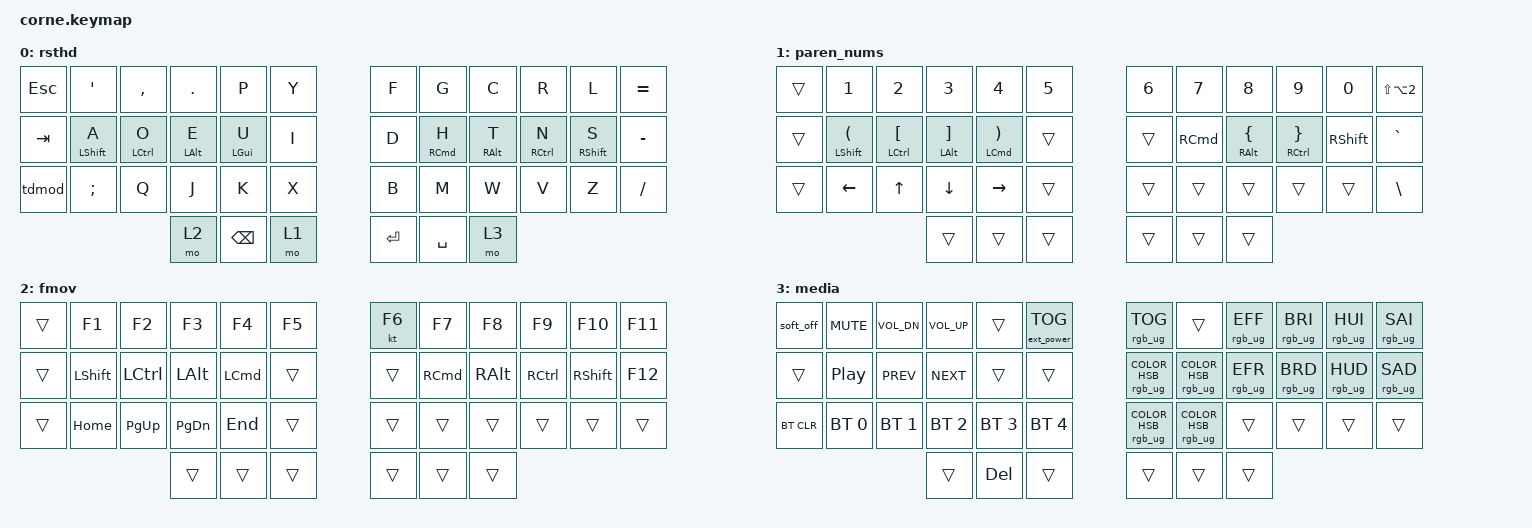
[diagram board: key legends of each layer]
/*
 * Copyright (c) 2020 The ZMK Contributors
 *
 * SPDX-License-Identifier: MIT
 */

#include <behaviors.dtsi>
#include <dt-bindings/zmk/bt.h>
#include <dt-bindings/zmk/ext_power.h>
#include <dt-bindings/zmk/keys.h>
#include <dt-bindings/zmk/rgb.h>
#include <zephyr/dt-bindings/gpio/gpio.h>

#define DVK 0
#define ONE   1
#define TWO   2
#define THREE 3

&led_strip { chain-length = <27>; };

/* nice_view CS re-bodged from D1 (default) to RX1: D1/P0.06 is the
 * underglow data pin on the Corne and must stay with the WS2812 strip. */
&nice_view_spi {
    cs-gpios = <&pro_micro 0 GPIO_ACTIVE_HIGH>;
};

/ {
    behaviors {
        bhm: balanced_homerow_mods {
            compatible = "zmk,behavior-hold-tap";
            #binding-cells = <2>;
            tapping-term-ms = <180>;    // <---[[moderate duration]]
            quick-tap-ms = <0>;
            flavor = "balanced";
            bindings = <&kp>, <&kp>;
        };

        tdmod: tdmod {
            compatible = "zmk,behavior-tap-dance";
            label = "TDMOD";
            #binding-cells = <0>;
            bindings = <&kp LC(LALT)>, <&kp LC(LA(LSHFT))>;
        };
    };

    macros {
        vim_save_all: vim_save_all {
            compatible = "zmk,behavior-macro";
            #binding-cells = <0>;
            bindings = <&kp ESCAPE &kp COLON &kp W &kp A &kp EXCL &kp ENTER>;
            label = "VIM_SAVE_ALL";
        };

        vim_show_tree: vim_show_tree {
            compatible = "zmk,behavior-macro";
            #binding-cells = <0>;
            bindings = <&kp ESCAPE &kp SPACE &kp E>;
            label = "VIM_SHOW_TREE";
        };

        vim_cfdo_prefix: vim_cfdo_prefix {
            compatible = "zmk,behavior-macro";
            #binding-cells = <0>;
            bindings = <&kp LC(Q) &kp COLON &kp C &kp F &kp D &kp O &kp SPACE &kp PRCNT &kp S &kp FSLH>;
            label = "VIM_CFDO_PREFIX";
        };

        vim_vert_split: vim_vert_split {
            compatible = "zmk,behavior-macro";
            #binding-cells = <0>;
            bindings = <&kp LC(W) &kp V>;
            label = "VIM_VERT_SPLIT";
            tap-ms = <0>;
        };

        vim_hor_split: vim_hor_split {
            compatible = "zmk,behavior-macro";
            #binding-cells = <0>;
            bindings = <&kp LC(W) &kp S>;
            label = "VIM_HOR_SPLIT";
        };

        vim_close_split: vim_close_split {
            compatible = "zmk,behavior-macro";
            #binding-cells = <0>;
            bindings = <&kp LC(W) &kp C>;
            label = "VIM_CLOSE_SPLIT";
        };

        vim_split_nav_up: vim_split_up {
            compatible = "zmk,behavior-macro";
            #binding-cells = <0>;
            bindings = <&kp LC(W) &kp K>;
            label = "VIM_SPLIT_UP";
        };

        vim_split_nav_down: vim_split_down {
            compatible = "zmk,behavior-macro";
            #binding-cells = <0>;
            bindings = <&kp LC(W) &kp J>;
            label = "VIM_SPLIT_DOWN";
        };

        vim_split_nav_left: vim_slit_nav_left {
            compatible = "zmk,behavior-macro";
            #binding-cells = <0>;
            bindings = <&kp LC(W) &kp H>;
            label = "VIM_SLIT_NAV_LEFT";
        };

        vim_split_nav_right: vim_split_nav_right {
            compatible = "zmk,behavior-macro";
            #binding-cells = <0>;
            bindings = <&kp LC(W) &kp L>;
            label = "VIM_SPLIT_NAV_RIGHT";
        };
    };

    keymap {
        compatible = "zmk,keymap";

        rsthd {
            // --------------------------------------------------------------------------------------------------------------
            // |  ESC |  '      |  ,<     |  .>     |  P      |  Y  | ## |  F  |  G       |  C      |  R      |  L      | =+  |
            // |  TAB |  LS(A)  |  LC(O)  |  LA(E)  |  LG(U)  |  I  | ## |  D  |  RG(H)   |  RA(T)  |  RC(N)  |  RS(S)  | -_  |
            // |  CA  |  ;      |  Q      |  J      |  K      |  X  | ## |  B  |  M       |  W      |  V      |  Z      | /?  |
            //                            | MO(2)   | MO(1)   | BSP | ## | ENT |  SPC     | MO(3)   |

            bindings = <
&kp ESC  &kp SINGLE_QUOTE  &kp COMMA     &kp PERIOD   &kp P          &kp Y    &kp F      &kp G        &kp C        &kp R         &kp L         &kp EQUAL
&kp TAB  &bhm LSHIFT A     &bhm LCTRL O  &bhm LALT E  &bhm LGUI U    &kp I    &kp D      &bhm RCMD H  &bhm RALT T  &bhm RCTRL N  &bhm RSHFT S  &kp MINUS
&tdmod   &kp SEMICOLON     &kp Q         &kp J        &kp K          &kp X    &kp B      &kp M        &kp W        &kp V         &kp Z         &kp SLASH
                                         &mo 2        &kp BACKSPACE  &mo 1    &kp ENTER  &kp SPACE    &mo 3
            >;
        };

        paren_nums {
            //--------------------------------------------------------------------------------------------------------------
            // |      | [          |  {         | }          | ]          |     | ## |     7 |    8 |    9 |     & | * | + |
            // |      | LSHIFT     |  LC (      | LA )       |  LGUI      |     | ## | RG  4 | RA 5 | RC 6 |  RS $ | % | ^ |
            // |      | left       |   up       |  down      | right      |     | ## |     1 |    2 |    3 |     ! | @ | # |
            // |  MEH | home       |   pgup     |  pgdn      |  end       |     | ## |     0 |    , |    . |     = |   | - | 
            //                                  |            |            |     | ## |       |      |      | 

            bindings = <
&trans  &kp NUMBER_1                 &kp NUMBER_2             &kp NUMBER_3             &kp NUMBER_4                 &kp N5    &kp NUMBER_6  &kp N7    &kp N8                &kp N9                  &kp N0     &kp LS(LA(NUMBER_2))
&trans  &bhm LSHFT LEFT_PARENTHESIS  &bhm LCTRL LEFT_BRACKET  &bhm LALT RIGHT_BRACKET  &bhm LCMD RIGHT_PARENTHESIS  &trans    &trans        &kp RCMD  &bhm RALT LEFT_BRACE  &bhm RCTRL RIGHT_BRACE  &kp RSHFT  &kp GRAVE
&trans  &kp LEFT_ARROW               &kp UP_ARROW             &kp DOWN_ARROW           &kp RIGHT_ARROW              &trans    &trans        &trans    &trans                &trans                  &trans     &kp BACKSLASH
                                                              &trans                   &trans                       &trans    &trans        &trans    &trans
            >;
        };

        fmov {
            bindings = <
&trans  &kp F1     &kp F2     &kp F3         &kp F4    &kp F5    &kt F6  &kp F7    &kp F8    &kp F9     &kp F10    &kp F11
&trans  &kp LSHFT  &kp LCTRL  &kp LALT       &kp LCMD  &trans    &trans  &kp RCMD  &kp RALT  &kp RCTRL  &kp RSHFT  &kp F12
&trans  &kp HOME   &kp PG_UP  &kp PAGE_DOWN  &kp END   &trans    &trans  &trans    &trans    &trans     &trans     &trans
                              &trans         &trans    &trans    &trans  &trans    &trans
            >;
        };

        media {
            bindings = <
&soft_off   &kp C_MUTE        &kp C_VOL_DN  &kp C_VOLUME_UP  &trans        &ext_power EP_TOG    &rgb_ug RGB_TOG                    &trans                             &rgb_ug RGB_EFF  &rgb_ug RGB_BRI  &rgb_ug RGB_HUI  &rgb_ug RGB_SAI
&trans      &kp C_PLAY_PAUSE  &kp C_PREV    &kp C_NEXT       &trans        &trans               &rgb_ug RGB_COLOR_HSB(0,100,50)    &rgb_ug RGB_COLOR_HSB(119,100,50)  &rgb_ug RGB_EFR  &rgb_ug RGB_BRD  &rgb_ug RGB_HUD  &rgb_ug RGB_SAD
&bt BT_CLR  &bt BT_SEL 0      &bt BT_SEL 1  &bt BT_SEL 2     &bt BT_SEL 3  &bt BT_SEL 4         &rgb_ug RGB_COLOR_HSB(194,100,50)  &rgb_ug RGB_COLOR_HSB(189,0,100)   &trans           &trans           &trans           &trans
                                            &trans           &kp DELETE    &trans               &trans                             &trans                             &trans
            >;
        };
    };
};
